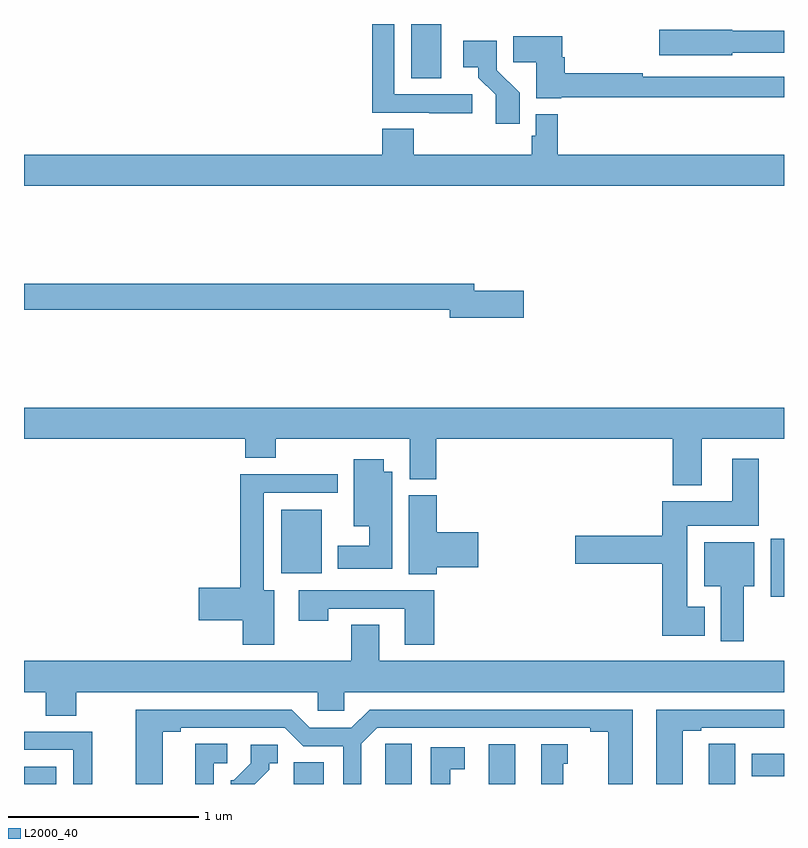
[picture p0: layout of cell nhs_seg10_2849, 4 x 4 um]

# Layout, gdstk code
import gdstk
lib = gdstk.Library(unit=1e-6, precision=1e-09)
def R(c, l, rs):  # rectangles x0, y0, x1, y1
    for r in rs: c.add(gdstk.rectangle(r[:2], r[2:], *l))
def P(c, l, *ps):  # polygons
    for p in ps: c.add(gdstk.Polygon(p, *l))
L2000_40 = (2000, 40)

nhs_seg10_2849 = lib.new_cell('nhs_seg10_2849')
R(nhs_seg10_2849, L2000_40, [(265,1298.5,265.171,1298.59), (266.42,1298.5,266.578,1298.615), (267.446,1298.5,267.586,1298.71), (268.829,1298.542,269,1298.658), (268.931,1299.485,269,1299.79), (266.354,1299.608,266.566,1299.943), (267.038,1302.214,267.196,1302.5)])
P(nhs_seg10_2849, L2000_40, [(267.358,1302.129),(266.949,1302.129),(266.949,1302.5),(266.833,1302.5),(266.833,1302.033),(267.133,1302.033),(267.133,1302.031),(267.358,1302.031)],
  [(268.728,1302.348),(269,1302.348),(269,1302.464),(268.728,1302.464),(268.728,1302.47),(268.344,1302.47),(268.344,1302.335),(268.728,1302.335)],
  [(267.828,1302.114),(269,1302.114),(269,1302.222),(268.256,1302.222),(268.256,1302.242),(267.845,1302.242),(267.845,1302.326),(267.832,1302.326),(267.832,1302.436),(267.574,1302.436),(267.574,1302.298),(267.695,1302.298),(267.695,1302.11),(267.828,1302.11)],
  [(267.608,1302.138),(267.489,1302.257),(267.489,1302.412),(267.312,1302.412),(267.312,1302.272),(267.392,1302.272),(267.392,1302.217),(267.483,1302.127),(267.483,1301.976),(267.608,1301.976)],
  [(269,1301.812),(267.809,1301.812),(267.809,1302.025),(267.693,1302.025),(267.693,1301.913),(267.673,1301.913),(267.673,1301.812),(267.05,1301.812),(267.05,1301.948),(266.885,1301.948),(266.885,1301.812),(265,1301.812),(265,1301.648),(269,1301.648)],
  [(267.631,1301.096),(267.37,1301.096),(267.37,1301.132),(265,1301.132),(265,1300.996),(267.242,1300.996),(267.242,1300.954),(267.631,1300.954)],
  [(268.567,1300.316),(269,1300.316),(269,1300.48),(265,1300.48),(265,1300.316),(266.165,1300.316),(266.165,1300.217),(266.325,1300.217),(266.325,1300.316),(267.029,1300.316),(267.029,1300.105),(267.17,1300.105),(267.17,1300.316),(268.415,1300.316),(268.415,1300.073),(268.567,1300.073)],
  [(268.582,1299.433),(268.492,1299.433),(268.492,1299.86),(268.867,1299.86),(268.867,1300.213),(268.727,1300.213),(268.727,1299.988),(268.358,1299.988),(268.358,1299.806),(267.9,1299.806),(267.9,1299.659),(268.358,1299.659),(268.358,1299.281),(268.582,1299.281)],
  [(266.938,1300.144),(266.893,1300.144),(266.893,1300.21),(266.735,1300.21),(266.735,1299.857),(266.816,1299.857),(266.816,1299.754),(266.651,1299.754),(266.651,1299.632),(266.938,1299.632)],
  [(266.317,1299.52),(266.263,1299.52),(266.263,1300.032),(266.65,1300.032),(266.65,1300.13),(266.138,1300.13),(266.138,1299.533),(265.92,1299.533),(265.92,1299.362),(266.15,1299.362),(266.15,1299.234),(266.317,1299.234)],
  [(267.173,1299.641),(267.391,1299.641),(267.391,1299.824),(267.173,1299.824),(267.173,1300.02),(267.026,1300.02),(267.026,1299.604),(267.173,1299.604)],
  [(268.789,1299.542),(268.843,1299.542),(268.843,1299.772),(268.58,1299.772),(268.58,1299.542),(268.667,1299.542),(268.667,1299.252),(268.789,1299.252)],
  [(267.158,1299.519),(266.445,1299.519),(266.445,1299.36),(266.601,1299.36),(266.601,1299.423),(267.005,1299.423),(267.005,1299.234),(267.158,1299.234)],
  [(265.275,1298.984),(266.547,1298.984),(266.547,1298.886),(266.685,1298.886),(266.685,1298.984),(269,1298.984),(269,1299.148),(266.869,1299.148),(266.869,1299.338),(266.722,1299.338),(266.722,1299.148),(265,1299.148),(265,1298.984),(265.115,1298.984),(265.115,1298.86),(265.275,1298.86)],
  [(268.468,1298.781),(268.564,1298.781),(268.564,1298.796),(268.84,1298.796),(268.84,1298.795),(269,1298.795),(269,1298.892),(268.328,1298.892),(268.328,1298.5),(268.468,1298.5)],
  [(265.729,1298.776),(265.825,1298.776),(265.825,1298.796),(266.373,1298.796),(266.469,1298.7),(266.679,1298.7),(266.679,1298.5),(266.775,1298.5),(266.775,1298.712),(266.859,1298.796),(267.98,1298.796),(267.98,1298.776),(268.076,1298.776),(268.076,1298.5),(268.204,1298.5),(268.204,1298.892),(266.819,1298.892),(266.723,1298.796),(266.505,1298.796),(266.409,1298.892),(265.589,1298.892),(265.589,1298.5),(265.729,1298.5)],
  [(265.359,1298.775),(265,1298.775),(265,1298.679),(265.26,1298.679),(265.26,1298.5),(265.359,1298.5)],
  [(267.04,1298.711),(266.901,1298.711),(266.901,1298.603),(266.9,1298.603),(266.9,1298.5),(267.04,1298.5)],
  [(268.744,1298.711),(268.605,1298.711),(268.605,1298.603),(268.604,1298.603),(268.604,1298.5),(268.744,1298.5)],
  [(265.998,1298.61),(266.071,1298.61),(266.071,1298.711),(265.901,1298.711),(265.901,1298.5),(265.998,1298.5)],
  [(267.838,1298.607),(267.862,1298.607),(267.862,1298.71),(267.722,1298.71),(267.722,1298.5),(267.838,1298.5)],
  [(266.29,1298.575),(266.29,1298.61),(266.335,1298.61),(266.335,1298.706),(266.193,1298.706),(266.193,1298.61),(266.103,1298.52),(266.088,1298.52),(266.088,1298.5),(266.215,1298.5)],
  [(267.244,1298.578),(267.319,1298.578),(267.319,1298.694),(267.14,1298.694),(267.14,1298.5),(267.244,1298.5)])

lib.write_gds('nhs_seg10_2849.gds')
